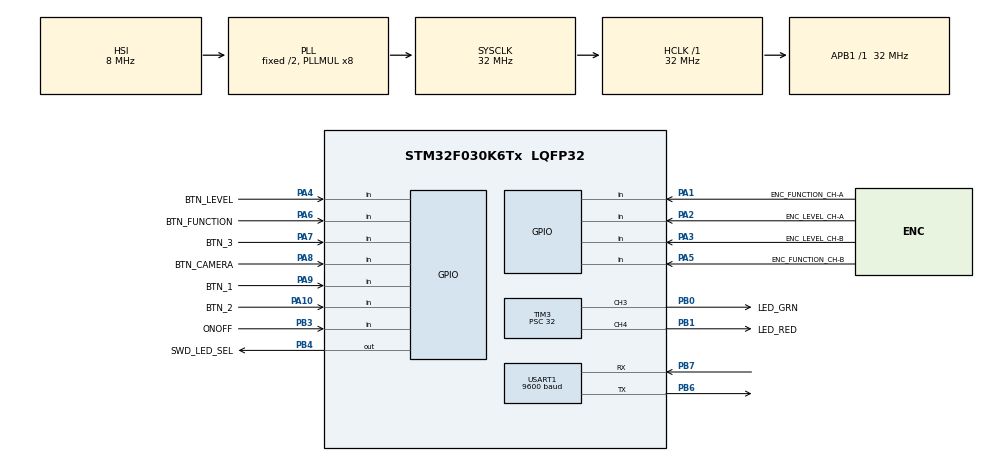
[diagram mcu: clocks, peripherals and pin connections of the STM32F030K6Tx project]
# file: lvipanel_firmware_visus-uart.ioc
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Mcu.Family=STM32F0
Mcu.Name=STM32F030K6Tx
Mcu.Package=LQFP32
NVIC.TIM14_IRQn=true\:0\:0\:false\:false\:true\:true\:true\:true
NVIC.TIM3_IRQn=true\:0\:0\:false\:false\:true\:true\:true\:true
PA1.GPIO_Label=ENC_FUNCTION_CH-A
PA1.Signal=GPIO_Input
PA10.GPIO_Label=BTN_2
PA10.GPIO_PuPd=GPIO_PULLUP
PA10.Signal=GPIO_Input
PA13.Mode=Serial_Wire
PA13.Signal=SYS_SWDIO
PA14.Mode=Serial_Wire
PA14.Signal=SYS_SWCLK
PA2.GPIO_Label=ENC_LEVEL_CH-A
PA2.Signal=GPIO_Input
PA3.GPIO_Label=ENC_LEVEL_CH-B
PA3.Signal=GPIO_Input
PA4.GPIO_Label=BTN_LEVEL
PA4.Signal=GPIO_Input
PA5.GPIO_Label=ENC_FUNCTION_CH-B
PA5.Signal=GPIO_Input
PA6.GPIO_Label=BTN_FUNCTION
PA6.Signal=GPIO_Input
PA7.GPIO_Label=BTN_3
PA7.Signal=GPIO_Input
PA8.GPIO_Label=BTN_CAMERA
PA8.Signal=GPIO_Input
PA9.GPIO_Label=BTN_1
PA9.GPIO_PuPd=GPIO_PULLUP
PA9.Signal=GPIO_Input
PB0.GPIO_Label=LED_GRN
PB0.Signal=S_TIM3_CH3
PB1.GPIO_Label=LED_RED
PB1.Signal=S_TIM3_CH4
PB3.GPIO_Label=ONOFF
PB3.Signal=GPIO_Input
PB4.GPIO_Label=SWD_LED_SEL
PB4.GPIO_PuPd=GPIO_PULLDOWN
PB4.Signal=GPIO_Output
PB6.Mode=Asynchronous
PB6.Signal=USART1_TX
PB7.Mode=Asynchronous
PB7.Signal=USART1_RX
ProjectManager.HeapSize=0x200
ProjectManager.StackSize=0x400
ProjectManager.TargetToolchain=CMake
RCC.AHBFreq_Value=32000000
RCC.APB1Freq_Value=32000000
RCC.APB1TimFreq_Value=32000000
RCC.HCLKFreq_Value=32000000
RCC.PLLMUL=RCC_PLL_MUL8
RCC.SYSCLKFreq_VALUE=32000000
RCC.SYSCLKSource=RCC_SYSCLKSOURCE_PLLCLK
SH.S_TIM3_CH3.0=TIM3_CH3,PWM Generation3 CH3
SH.S_TIM3_CH4.0=TIM3_CH4,PWM Generation4 CH4
TIM14.AutoReloadPreload=TIM_AUTORELOAD_PRELOAD_ENABLE
TIM14.Period=999
TIM14.Prescaler=31
TIM3.AutoReloadPreload=TIM_AUTORELOAD_PRELOAD_ENABLE
TIM3.Channel-PWM\ Generation3\ CH3=TIM_CHANNEL_3
TIM3.Channel-PWM\ Generation4\ CH4=TIM_CHANNEL_4
TIM3.Period=9999
TIM3.Prescaler=32
USART1.BaudRate=9600
USART1.VirtualMode-Asynchronous=VM_ASYNC
VP_TIM14_VS_ClockSourceINT.Mode=Enable_Timer
VP_TIM3_VS_ClockSourceINT.Mode=Internal
board=custom

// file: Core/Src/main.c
/* USER CODE BEGIN Header */
/**
 ******************************************************************************
 * @file           : main.c
 * @brief          : Main program body
 ******************************************************************************
 * @attention
 *
 * Copyright (c) 2024 STMicroelectronics.
 * All rights reserved.
 *
 * This software is licensed under terms that can be found in the LICENSE file
 * in the root directory of this software component.
 * If no LICENSE file comes with this software, it is provided AS-IS.
 *
 ******************************************************************************
 */
/* USER CODE END Header */
#include "main.h"
#include "tim.h"
#include "usart.h"
#include "gpio.h"

/* USER CODE BEGIN Includes */

#include "panel.h"
#include "visca.h"

/* USER CODE END Includes */

/* USER CODE BEGIN PM */

enum
{
  TIM_ITR_UNLOCKED,
  TIM_ITR_LOCKED
};

enum
{
  GPIO_INPUT,
  GPIO_OUTPUT
};

/* USER CODE END PM */

/* USER CODE BEGIN PV */

uint8_t timerInterruptLock;

uint32_t clock = 0;
/* USER CODE END PV */

void SystemClock_Config(void);

int main(void)
{

  /* MCU Configuration--------------------------------------------------------*/

  /* Reset of all peripherals, Initializes the Flash interface and the Systick. */
  HAL_Init();

  /* Configure the system clock */
  SystemClock_Config();

  /* Initialize all configured peripherals */
  MX_GPIO_Init();
  MX_USART1_UART_Init();
  MX_TIM3_Init();
  MX_TIM14_Init();
  /* USER CODE BEGIN 2 */

  // __disable_irq();

  Peripheral_InitGroup();

  Panel_Init();

  VISCA_Init(&huart1);

  // Turn camera 1 on
  VISCA_CameraPower(1, 1);

  VISCA_Zoom(1, 1, 30); // Zoom out on start

#ifdef DEBUG
  HAL_GPIO_WritePin(SWD_LED_SEL_GPIO_Port, SWD_LED_SEL_Pin, RESET);
#else
  HAL_GPIO_WritePin(SWD_LED_SEL_GPIO_Port, SWD_LED_SEL_Pin, SET);
#endif

  HAL_TIM_Base_Start_IT(&htim14);
  timerInterruptLock = TIM_ITR_UNLOCKED;

  __enable_irq();

  /* USER CODE END 2 */

  /* Infinite loop */
  /* USER CODE BEGIN WHILE */
  while (1)
  {
    /* 1. Peripheral scan sequence */
    if (timerInterruptLock == TIM_ITR_LOCKED)
    { /* Wait for timer interrupt to happen */

      Panel_Scan();

      timerInterruptLock = TIM_ITR_UNLOCKED;
    }

    /* USER CODE END WHILE */

  }
}

void SystemClock_Config(void)
{
  RCC_OscInitTypeDef RCC_OscInitStruct = {0};
  RCC_ClkInitTypeDef RCC_ClkInitStruct = {0};
  RCC_PeriphCLKInitTypeDef PeriphClkInit = {0};

  /** Initializes the RCC Oscillators according to the specified parameters
   * in the RCC_OscInitTypeDef structure.
   */
  RCC_OscInitStruct.OscillatorType = RCC_OSCILLATORTYPE_HSI;
  RCC_OscInitStruct.HSIState = RCC_HSI_ON;
  RCC_OscInitStruct.HSICalibrationValue = RCC_HSICALIBRATION_DEFAULT;
  RCC_OscInitStruct.PLL.PLLState = RCC_PLL_ON;
  RCC_OscInitStruct.PLL.PLLSource = RCC_PLLSOURCE_HSI;
  RCC_OscInitStruct.PLL.PLLMUL = RCC_PLL_MUL8;
  RCC_OscInitStruct.PLL.PREDIV = RCC_PREDIV_DIV1;
  if (HAL_RCC_OscConfig(&RCC_OscInitStruct) != HAL_OK)
  {
    Error_Handler();
  }

  /** Initializes the CPU, AHB and APB buses clocks
   */
  RCC_ClkInitStruct.ClockType = RCC_CLOCKTYPE_HCLK | RCC_CLOCKTYPE_SYSCLK | RCC_CLOCKTYPE_PCLK1;
  RCC_ClkInitStruct.SYSCLKSource = RCC_SYSCLKSOURCE_PLLCLK;
  RCC_ClkInitStruct.AHBCLKDivider = RCC_SYSCLK_DIV1;
  RCC_ClkInitStruct.APB1CLKDivider = RCC_HCLK_DIV1;

  if (HAL_RCC_ClockConfig(&RCC_ClkInitStruct, FLASH_LATENCY_1) != HAL_OK)
  {
    Error_Handler();
  }
  PeriphClkInit.PeriphClockSelection = RCC_PERIPHCLK_USART1;
  PeriphClkInit.Usart1ClockSelection = RCC_USART1CLKSOURCE_PCLK1;
  if (HAL_RCCEx_PeriphCLKConfig(&PeriphClkInit) != HAL_OK)
  {
    Error_Handler();
  }
}

/* USER CODE BEGIN 4 */

void HAL_TIM_PeriodElapsedCallback(TIM_HandleTypeDef *htim)
{
  if (htim->Instance == TIM14)
  {
    if (timerInterruptLock == TIM_ITR_UNLOCKED)
    {
      timerInterruptLock = TIM_ITR_LOCKED;
    }
  }
}

/* USER CODE END 4 */

void Error_Handler(void)
{
  __disable_irq();
  while (1)
  {
  }
}
